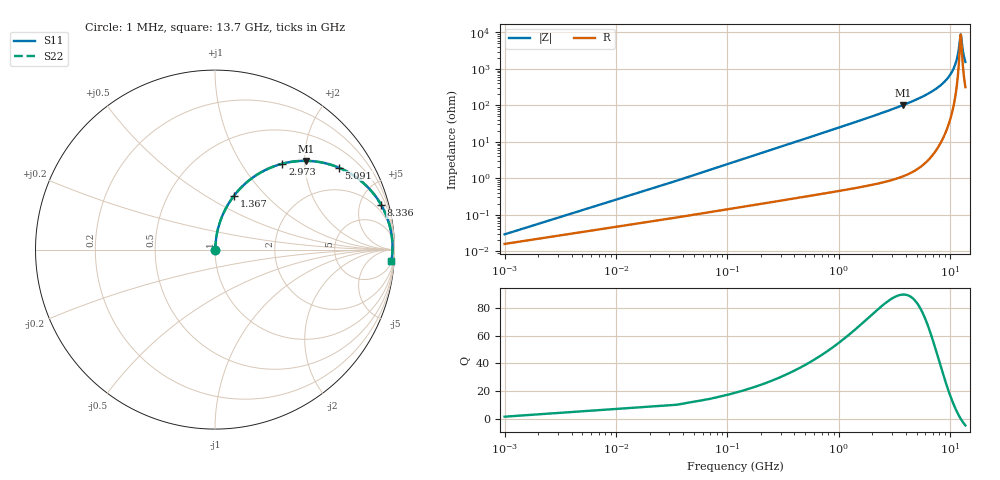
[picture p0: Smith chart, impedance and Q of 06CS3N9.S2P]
! Coilcraft 0603CS-3N9 Chip Inductor
! 21 May 2002
# MHZ S MA R 50
!Freq  MagS11  AngS11  MagS21  AngS21  MagS12  AngS12  MagS22  AngS22
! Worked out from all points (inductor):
!   403 points, 1 MHz to 13.7 GHz, reference 50 ohm
!   read as one part in series: L = 3.9 nH near 69.32 MHz
!   highest Q = 89.5 at 3.759 GHz (marker M1), where L = 4.29 nH
!   self-resonance near 12.44 GHz
!   S11 on the Smith chart (normalised r, x): 1 MHz: 1.00, +0.00; 1.367 GHz: 1.01, +0.68; 2.973 GHz: 1.02, +1.55; 5.091 GHz: 1.04, +3.00; 8.336 GHz: 1.20, +7.41; 13.7 GHz: 7, -30
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1  0.0002926 56.8  0.9998 -0.0  0.9998 -0.0  0.0002926 56.8
103.48  0.02536 85.3  0.9982 -1.5  0.9982 -1.5  0.02536 85.3
171.8  0.04203 85.1  0.9973 -2.4  0.9973 -2.4  0.04203 85.1
240.12  0.05867 84.5  0.9961 -3.4  0.9961 -3.4  0.05867 84.5
410.92  0.1001 82.6  0.9921 -5.7  0.9921 -5.7  0.1001 82.6
650.04  0.1572 79.7  0.984 -9.0  0.984 -9.0  0.1572 79.7
1367.4  0.3197 70.5  0.9425 -18.6  0.9425 -18.6  0.3197 70.5
2289.72  0.4995 59.3  0.86 -30.0  0.86 -30.0  0.4995 59.3
2972.92  0.608 51.9  0.7869 -37.4  0.7869 -37.4  0.608 51.9
3758.6  0.7079 44.3  0.6984 -45.1  0.6984 -45.1  0.7079 44.3
4578.44  0.7878 37.4  0.607 -52.0  0.607 -52.0  0.7878 37.4
5090.84  0.8272 33.5  0.552 -55.8  0.552 -55.8  0.8272 33.5
6867.16  0.9187 22.3  0.3795 -66.7  0.3795 -66.7  0.9187 22.3
8336.04  0.9589 15.0  0.2586 -73.4  0.2586 -73.4  0.9589 15.0
9155.88  0.9724 11.5  0.1987 -76.3  0.1987 -76.3  0.9724 11.5
10522.28  0.9851 6.2  0.109 -79.0  0.109 -79.0  0.9851 6.2
11444.6  0.9885 3.1  0.05506 -76.4  0.05506 -76.4  0.9885 3.1
11854.52  0.989 1.8  0.03302 -69.7  0.03302 -69.7  0.989 1.8
12332.76  0.9889 0.3  0.01246 -26.7  0.01246 -26.7  0.9889 0.3
12435.24  0.9888 0.0  0.01124 -1.5  0.01124 -1.5  0.9888 0.0
13084.28  0.9873 -1.9  0.03483 67.8  0.03483 67.8  0.9873 -1.9
13700  0.985 -3.6  0.06368 74.6  0.06368 74.6  0.985 -3.6
